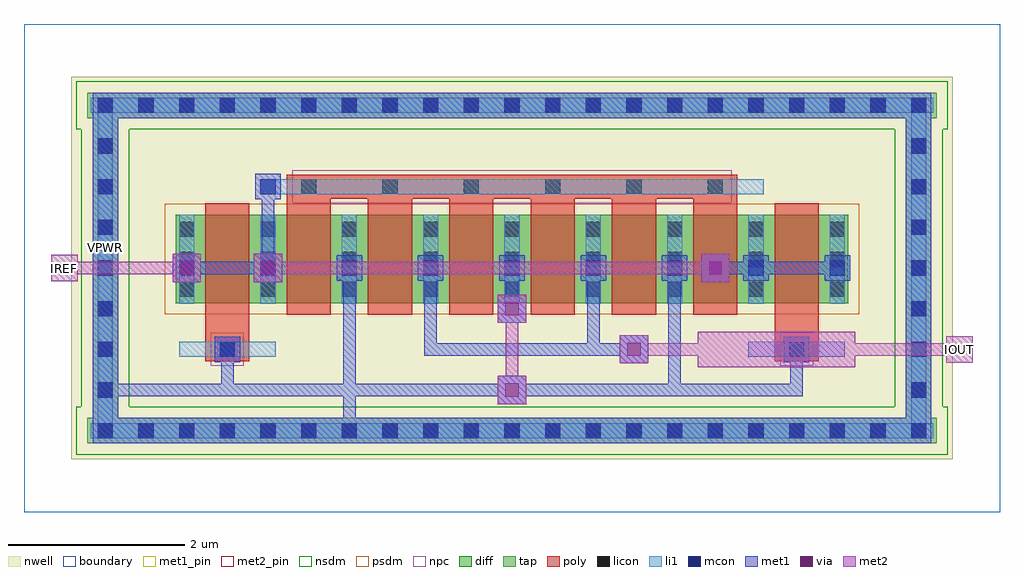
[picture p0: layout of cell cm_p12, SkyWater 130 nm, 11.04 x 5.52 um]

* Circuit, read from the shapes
.subckt cm_p12 IOUT IREF VPWR
XM1 IREF VPWR IREF VPWR sky130_fd_pr__pfet_01v8 w=1 l=0.5 m=2
XM2 VPWR IREF IREF VPWR sky130_fd_pr__pfet_01v8 w=1 l=0.5 m=2
XM3 IOUT IREF VPWR VPWR sky130_fd_pr__pfet_01v8 w=1 l=0.5 m=4
.ends

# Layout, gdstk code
import gdstk
lib = gdstk.Library(unit=1e-6, precision=1e-09)
def R(c, l, rs):  # rectangles x0, y0, x1, y1
    for r in rs: c.add(gdstk.rectangle(r[:2], r[2:], *l))
def A(c, l, x, y, w, h, nx, ny, dx, dy):  # array of equal rectangles
    R(c, l, [(x+i*dx, y+j*dy, x+i*dx+w, y+j*dy+h) for i in range(nx) for j in range(ny)])
nwell = (64, 20)
diff = (65, 20)
tap = (65, 44)
poly = (66, 20)
licon = (66, 44)
li1 = (67, 20)
mcon = (67, 44)
met1_pin = (68, 16)
met1 = (68, 20)
via = (68, 44)
met2_pin = (69, 16)
met2 = (69, 20)
nsdm = (93, 44)
psdm = (94, 20)
npc = (95, 20)
boundary = (235, 4)

cm_p12 = lib.new_cell('cm_p12')
R(cm_p12, nwell, [(0.535,0.595,10.505,4.925)])
R(cm_p12, diff, [(1.715,2.36,9.325,3.36)])
R(cm_p12, tap, [(0.715,0.775,10.325,1.065), (0.775,0.775,1.065,4.745), (9.975,0.775,10.265,4.745), (0.715,4.455,10.325,4.745)])
A(cm_p12, poly, 2.97, 2.23, 0.5, 1.45, 6, 1, 0.92, 0)
R(cm_p12, poly, [(2.05,1.705,2.55,1.975), (8.49,1.705,8.99,1.975), (2.05,1.84,2.55,3.49), (8.49,1.84,8.99,3.49), (2.97,3.545,8.07,3.815)])
A(cm_p12, licon, 0.835, 0.835, 0.17, 0.17, 21, 2, 0.46, 3.68)
A(cm_p12, licon, 0.835, 1.295, 0.17, 0.17, 1, 7, 0, 0.46)
A(cm_p12, licon, 10.035, 1.295, 0.17, 0.17, 1, 7, 0, 0.46)
A(cm_p12, licon, 1.755, 2.435, 0.17, 0.17, 9, 3, 0.92, 0.34)
A(cm_p12, licon, 3.135, 3.595, 0.17, 0.17, 6, 1, 0.92, 0)
R(cm_p12, licon, [(2.215,1.755,2.385,1.925), (8.655,1.755,8.825,1.925)])
A(cm_p12, li1, 1.755, 2.355, 0.17, 1.01, 9, 1, 0.92, 0)
R(cm_p12, li1, [(0.755,0.835,10.285,1.005), (0.835,0.835,1.005,4.685), (10.035,0.835,10.205,4.685), (1.755,1.755,2.845,1.925), (8.195,1.755,9.285,1.925), (2.675,3.595,8.365,3.765), (0.755,4.515,10.285,4.685)])
A(cm_p12, mcon, 0.835, 0.835, 0.17, 0.17, 21, 2, 0.46, 3.68)
A(cm_p12, mcon, 0.835, 1.295, 0.17, 0.17, 1, 3, 0, 0.46)
A(cm_p12, mcon, 10.035, 1.295, 0.17, 0.17, 1, 3, 0, 0.46)
A(cm_p12, mcon, 0.835, 2.675, 0.17, 0.17, 11, 1, 0.92, 0)
A(cm_p12, mcon, 0.835, 3.135, 0.17, 0.17, 1, 3, 0, 0.46)
A(cm_p12, mcon, 10.035, 3.135, 0.17, 0.17, 1, 3, 0, 0.46)
R(cm_p12, mcon, [(2.215,1.755,2.385,1.925), (8.655,1.755,8.825,1.925), (2.675,3.595,2.845,3.765)])
R(cm_p12, met1_pin, [(0.85,1.31,0.99,4.67)])
A(cm_p12, met1, 1.695, 2.615, 0.29, 0.29, 9, 1, 0.92, 0)
R(cm_p12, met1, [(0.775,0.775,10.265,1.065), (0.775,0.775,1.065,4.745), (9.975,0.775,10.265,4.745), (3.61,0.85,3.75,0.99), (3.61,0.85,3.75,2.83), (5.36,1.22,5.68,1.54), (0.85,1.31,2.37,1.45), (0.85,1.31,0.99,4.67), (2.23,1.31,3.75,1.45), (2.23,1.31,2.37,1.91), (3.61,1.31,7.43,1.45), (7.29,1.31,8.81,1.45), (7.29,1.31,7.43,2.83), (8.67,1.31,8.81,1.91), (6.74,1.68,7.06,2), (2.155,1.695,2.445,1.985), (8.595,1.695,8.885,1.985), (4.53,1.77,4.67,2.83), (4.53,1.77,6.51,1.91), (6.37,1.77,6.51,2.83), (6.37,1.77,6.97,1.91), (5.36,2.14,5.68,2.46), (5.45,2.23,5.59,2.83), (1.68,2.6,2,2.92), (2.6,2.6,2.92,2.92), (7.66,2.6,7.98,2.92), (1.77,2.69,2.83,2.83), (2.69,2.69,2.83,3.75), (7.75,2.69,8.35,2.83), (8.21,2.69,9.27,2.83), (2.615,3.535,2.905,3.825), (0.775,4.455,10.265,4.745), (0.85,4.53,0.99,4.67)])
R(cm_p12, via, [(5.445,1.305,5.595,1.455), (6.825,1.765,6.975,1.915), (5.445,2.225,5.595,2.375), (1.765,2.685,1.915,2.835), (2.685,2.685,2.835,2.835), (7.745,2.685,7.895,2.835)])
R(cm_p12, met2_pin, [(10.43,1.69,10.73,1.99), (0.31,2.61,0.61,2.91)])
R(cm_p12, met2, [(5.36,1.22,5.68,1.54), (5.45,1.31,5.59,2.37), (7.62,1.64,9.4,2.04), (6.74,1.68,7.06,2), (10.43,1.69,10.73,1.99), (6.83,1.77,7.89,1.91), (9.13,1.77,10.65,1.91), (10.51,1.77,10.65,1.91), (5.36,2.14,5.68,2.46), (1.68,2.6,2,2.92), (2.6,2.6,2.92,2.92), (7.66,2.6,7.98,2.92), (0.31,2.61,0.61,2.91), (0.39,2.69,0.53,2.83), (0.39,2.69,1.91,2.83), (2.69,2.69,7.89,2.83)])
R(cm_p12, nsdm, [(0.59,0.65,10.45,1.19), (0.65,1.19,1.19,4.33), (9.85,1.19,10.39,4.33), (0.59,4.33,10.45,4.87)])
R(cm_p12, psdm, [(1.59,2.235,9.45,3.485)])
R(cm_p12, npc, [(2.115,1.655,2.485,2.025), (8.555,1.655,8.925,2.025), (3.035,3.495,8.005,3.865)])
R(cm_p12, boundary, [(0,0,11.04,5.52)])
cm_p12.add(gdstk.Label('VPWR', (0.92,2.99), layer=68, texttype=5))
cm_p12.add(gdstk.Label('IREF', (0.46,2.76), layer=69, texttype=5))
cm_p12.add(gdstk.Label('IOUT', (10.58,1.84), layer=69, texttype=5))
cm_p12.add(gdstk.Label('VPWR', (0.92,2.99), layer=68, texttype=16))
cm_p12.add(gdstk.Label('IREF', (0.46,2.76), layer=69, texttype=16))
cm_p12.add(gdstk.Label('IOUT', (10.58,1.84), layer=69, texttype=16))

lib.write_gds('cm_p12.gds')
